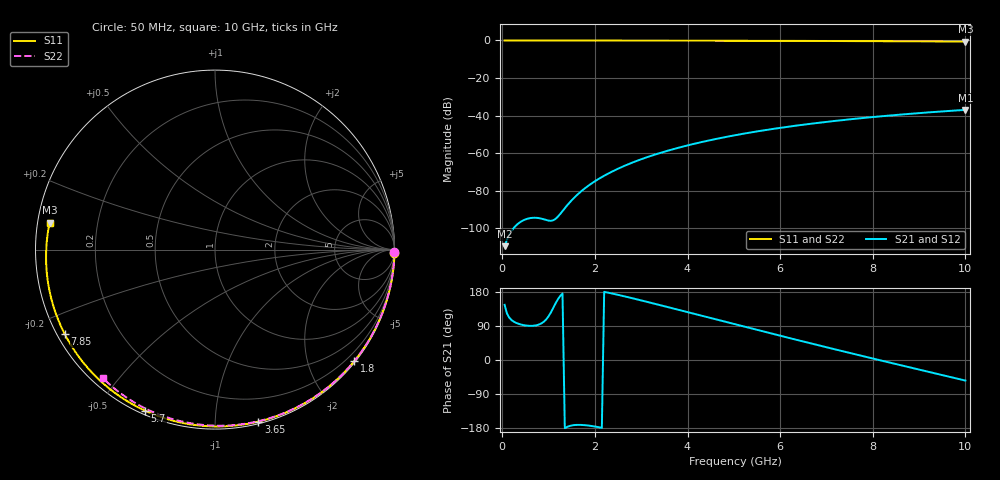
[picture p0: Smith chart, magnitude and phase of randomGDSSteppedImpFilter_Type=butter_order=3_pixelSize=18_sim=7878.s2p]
! freq	dB(S11)	phase(S11)	dB(S12)	phase(S12)
!  dB(S21)	phase(S21)	dB(S22)	phase(S22)
!S-par simulation data
#  GHz  S  DB  R 50
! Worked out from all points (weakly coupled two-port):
!   200 points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, 50 MHz to 10 GHz, reference 50 ohm
!   highest |S21| = -36.98 dB at 10 GHz (marker M1); lowest = -109.6 dB at 50 MHz (marker M2)
!   lowest |S11| = -0.6 dB at 10 GHz (marker M3), VSWR 29.07, Z = 1.73 + j4.05 ohm
!   |S11| at or under -10 dB: nowhere
!   |S22| runs from -0.4 to 0.0 dB; largest |S21 - S12| = 0
!   S11 on the Smith chart (normalised r, x): 50 MHz: open; 1.8 GHz: 0.03, -2.85; 3.65 GHz: 0.02, -1.28; 5.7 GHz: 0.02, -0.66; 7.85 GHz: 0.02, -0.26; 10 GHz: 0.03, +0.08
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0.05  -0.00 -1.1  -109.56 145.7  -109.56 145.7  -0.00 -0.8
0.45  -0.01 -9.9  -95.85 92.2  -95.85 92.2  -0.01 -6.8
0.85  -0.02 -18.5  -94.93 97.0  -94.93 97.0  -0.02 -12.8
1.25  -0.03 -27.1  -92.42 168.8  -92.42 168.8  -0.02 -18.8
1.7  -0.05 -36.6  -80.42 -171.3  -80.42 -171.3  -0.03 -25.4
1.75  -0.05 -37.6  -79.40 -171.6  -79.40 -171.6  -0.03 -26.2
1.8  -0.05 -38.7  -78.44 -172.2  -78.44 -172.2  -0.03 -26.9
2.1  -0.06 -44.9  -73.46 -177.7  -73.46 -177.7  -0.04 -31.3
2.5  -0.07 -53.1  -68.30 171.9  -68.30 171.9  -0.05 -37.1
2.9  -0.08 -61.2  -64.18 160.3  -64.18 160.3  -0.06 -42.8
3.4  -0.09 -71.0  -59.98 145.0  -59.98 145.0  -0.07 -49.8
3.65  -0.10 -75.8  -58.17 137.3  -58.17 137.3  -0.07 -53.3
4.35  -0.13 -89.1  -53.86 115.4  -53.86 115.4  -0.09 -62.8
5.05  -0.16 -101.8  -50.37 93.5  -50.37 93.5  -0.11 -72.1
5.7  -0.19 -113.4  -47.66 73.3  -47.66 73.3  -0.13 -80.4
6.2  -0.22 -122.1  -45.86 57.9  -45.86 57.9  -0.16 -86.7
6.7  -0.25 -130.8  -44.25 42.7  -44.25 42.7  -0.18 -92.9
7.3  -0.30 -141.1  -42.54 24.7  -42.54 24.7  -0.21 -100.1
7.85  -0.35 -150.6  -41.15 8.3  -41.15 8.3  -0.25 -106.6
8.35  -0.40 -159.3  -40.01 -6.4  -40.01 -6.4  -0.29 -112.4
9.2  -0.50 -174.4  -38.32 -31.1  -38.32 -31.1  -0.36 -122.2
10  -0.60 170.7  -36.98 -54.3  -36.98 -54.3  -0.44 -131.2
